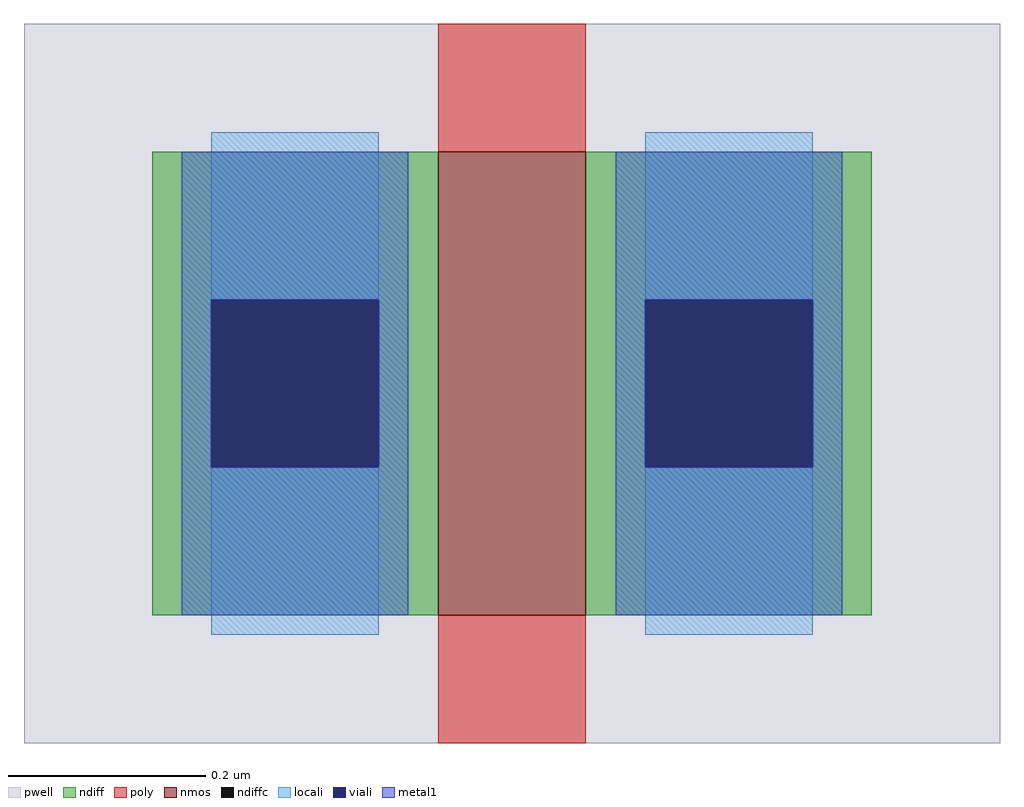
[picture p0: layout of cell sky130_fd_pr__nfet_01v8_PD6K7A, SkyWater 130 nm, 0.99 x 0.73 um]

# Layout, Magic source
magic
tech sky130A
magscale 1 2
<< pwell >>
rect -99 -73 99 73
<< nmos >>
rect -15 -47 15 47
<< ndiff >>
rect -73 17 -15 47
rect -73 -17 -61 17
rect -27 -17 -15 17
rect -73 -47 -15 -17
rect 15 17 73 47
rect 15 -17 27 17
rect 61 -17 73 17
rect 15 -47 73 -17
<< ndiffc >>
rect -61 -17 -27 17
rect 27 -17 61 17
<< poly >>
rect -15 47 15 73
rect -15 -73 15 -47
<< locali >>
rect -61 17 -27 51
rect -61 -51 -27 -17
rect 27 17 61 51
rect 27 -51 61 -17
<< viali >>
rect -61 -17 -27 17
rect 27 -17 61 17
<< metal1 >>
rect -67 17 -21 47
rect -67 -17 -61 17
rect -27 -17 -21 17
rect -67 -47 -21 -17
rect 21 17 67 47
rect 21 -17 27 17
rect 61 -17 67 17
rect 21 -47 67 -17
<< end >>
